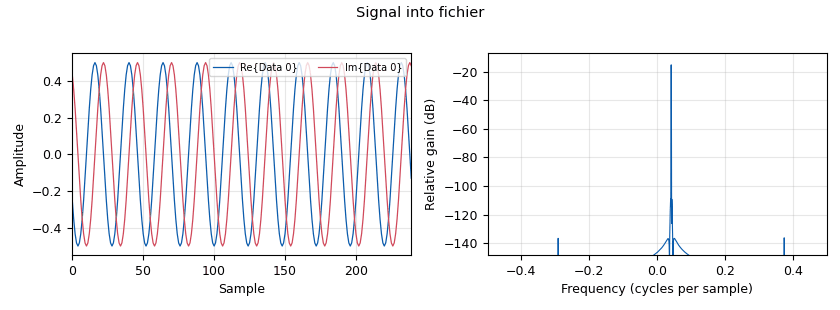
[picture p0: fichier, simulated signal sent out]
options:
  parameters:
    generate_options: no_gui
    id: fg_tp08_001
    output_language: python
    run_options: run
    title: FG-TP08-001
  states: {}

blocks:
- name: duree
  id: variable
  parameters:
    value: '10'
  states: {}
- name: nb_echantillons
  id: variable
  parameters:
    value: int(samp_rate * duree)
  states: {}
- name: samp_rate
  id: variable
  parameters:
    value: '48000'
  states: {}
- name: debut
  id: blocks_head
  parameters:
    num_items: nb_echantillons
    type: complex
  states: {}
- name: fichier
  id: blocks_file_sink
  parameters:
    file: '"echantillons.iq"'
    type: complex
  states: {}
- name: ton
  id: analog_sig_source_x
  parameters:
    amp: '0.5'
    freq: '2000'
    offset: '0'
    phase: '0'
    samp_rate: samp_rate
    type: complex
    waveform: analog.GR_COS_WAVE
  states: {}

connections:
- [debut, '0', fichier, '0']
- [ton, '0', debut, '0']

metadata:
  file_format: 1
  grc_version: 3.10.12.0
